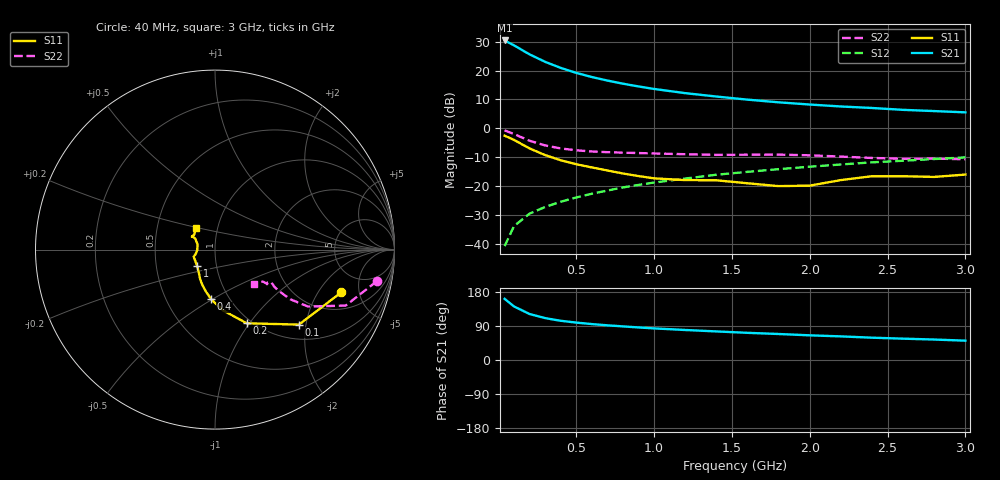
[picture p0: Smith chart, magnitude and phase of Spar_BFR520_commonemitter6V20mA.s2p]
! Filename:  BFR520K.S2P  Version:  2.1
! NXP part #: BFR520  Date: Sep 1991
! Bias condition: Vce=6V, Ic=20mA
#  MHz  S  MA  R  50
! Freq  S11  S21  S12  S22  !GUM [dB]
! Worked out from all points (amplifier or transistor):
!   21 points, 40 MHz to 3 GHz, reference 50 ohm
!   highest |S21| = 30.4 dB at 40 MHz (marker M1)
!   |S21| within 3 dB of that: start of sweep to 141.9 MHz
!   unconditionally stable (mu >= 1): 910.8 MHz to end of sweep
!   at 300 MHz: K = 0.77, MSG = 25.2 dB, |S12| = -27.3 dB
!   at 1 GHz: K = 1.01, MAG = 15.6 dB, |S12| = -18.9 dB
!   at 3 GHz: K = 1.01, MAG = 7.1 dB, |S12| = -10.1 dB
!   lowest NFmin = 1.45 dB at 500 MHz
!   S11 on the Smith chart (normalised r, x): 40 MHz: 3.10, -3.30; 100 MHz: 1.32, -1.82; 200 MHz: 0.95, -0.97; 400 MHz: 0.82, -0.50; 1 GHz: 0.81, -0.15; 3 GHz: 0.79, +0.19
40  0.743 -18.7  33.27 161.4  0.009 81.0  0.918 -11.1
100  0.627 -41.8  27.39 141.4  0.02 72.1  0.792 -23.2
200  0.447 -66.7  19.11 121.4  0.033 68.1  0.607 -31.5
300  0.342 -82.4  14.18 110.6  0.043 68.6  0.503 -33.4
400  0.278 -94.3  11.13 103.5  0.053 69.6  0.446 -33.1
500  0.237 -102.7  9.118 98.7  0.063 71.1  0.414 -32.7
600  0.209 -109.7  7.724 94.8  0.073 71.7  0.395 -32.2
700  0.185 -116.5  6.708 91.5  0.083 72.7  0.384 -31.7
800  0.164 -122.5  5.92 88.7  0.094 73.0  0.377 -31.1
900  0.148 -129.1  5.307 85.9  0.104 73.2  0.371 -30.8
1000  0.135 -137.3  4.799 83.4  0.114 73.2  0.365 -30.5
1200  0.126 -152.3  4.058 79.2  0.134 73.0  0.354 -30.7
1400  0.125 -161.6  3.545 75.4  0.156 72.3  0.345 -32.1
1600  0.111 -166.7  3.132 71.7  0.175 71.4  0.347 -32.7
1800  0.099 -178.7  2.813 68.6  0.195 70.9  0.348 -33.6
2000  0.101 163.6  2.574 65.1  0.215 69.6  0.339 -33.4
2200  0.126 151.0  2.382 62.3  0.235 68.5  0.322 -33.7
2400  0.147 149.6  2.244 58.9  0.256 67.3  0.305 -36.4
2600  0.147 151.2  2.082 56.3  0.273 65.9  0.295 -40.3
2800  0.143 144.3  1.983 54.0  0.292 65.0  0.297 -42.4
3000  0.157 131.2  1.884 51.0  0.312 63.6  0.29 -42.0
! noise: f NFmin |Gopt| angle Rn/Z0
500  1.45  0.194  27  0.25
900  1.6  0.164  49  0.26
1000  1.65  0.166  55  0.28
2000  2.2  0.165  -175  0.18
